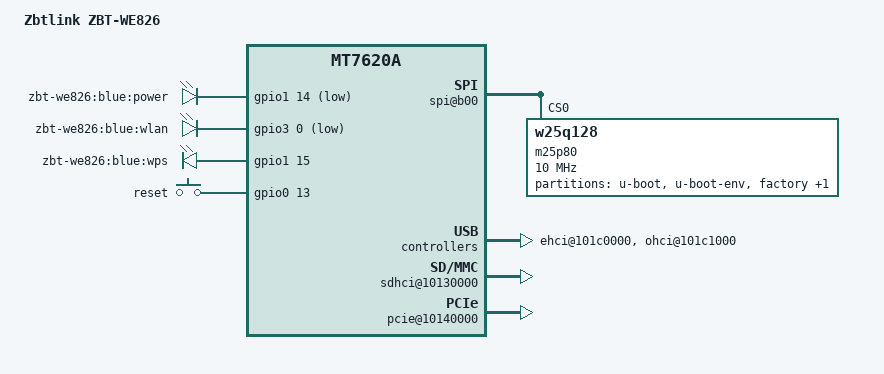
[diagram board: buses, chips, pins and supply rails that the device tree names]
/dts-v1/;

/include/ "mt7620a.dtsi"

/ {
	compatible = "zbtlink,zbt-we826", "ralink,mt7620a-soc";
	model = "Zbtlink ZBT-WE826";

	chosen {
		bootargs = "console=ttyS0,115200";
	};

	palmbus@10000000 {
		sysc@0 {
			ralink,gpiomux = "i2c", "jtag";
			ralink,uartmux = "gpio";
			ralink,wdtmux = <1>;
		};

		gpio0: gpio@600 {
			status = "okay";
		};
		
		gpio1: gpio@638 {
			status = "okay";
		};

		gpio3: gpio@688 {
			status = "okay";
		};

		spi@b00 {
			status = "okay";

			m25p80@0 {
				#address-cells = <1>;
				#size-cells = <1>;
				compatible = "w25q128";
				reg = <0 0>;
				linux,modalias = "m25p80";
				spi-max-frequency = <10000000>;

				partition@0 {
					label = "u-boot";
					reg = <0x0 0x30000>;
					read-only;
				};

				partition@30000 {
					label = "u-boot-env";
					reg = <0x30000 0x10000>;
					read-only;
				};

				factory: partition@40000 {
					label = "factory";
					reg = <0x40000 0x10000>;
					read-only;
				};

				partition@50000 {
					label = "firmware";
					reg = <0x50000 0xfb0000>;
				};
			};
		};
	};

	ehci@101c0000 {
		status = "okay";
	};

	ohci@101c1000 {
		status = "okay";
	};

	sdhci@10130000 {
		status = "okay";
	};

	pcie@10140000 {
		status = "okay";
	};

	ethernet@10100000 {
		mtd-mac-address = <&factory 0x4>;
		ralink,port-map = "llllw";
	};
	
	wmac@10180000 {
		ralink,mtd-eeprom = <&factory 0>;
	};

	pinctrl {
		state_default: pinctrl0 {
			gpio {
				ralink,group ="i2c", "uartf", "wled", "spi refclk", "pa";
				ralink,function = "gpio";
			};
			pa {
				ralink,group = "pa";
				ralink,function = "pa";
			};
		};
	};

	gpio-leds {
		compatible = "gpio-leds";
		power {
			label = "zbt-we826:blue:power";
			gpios = <&gpio1 14 1>;
		};
		wlan {
			label = "zbt-we826:blue:wlan";
			gpios = <&gpio3 0 1>;
		};
		wps {
			label = "zbt-we826:blue:wps";
			gpios = <&gpio1 15 0>;
		};
	};

	gpio-keys-polled {
		compatible = "gpio-keys";
		#address-cells = <1>;
		#size-cells = <0>;
		poll-interval = <20>;

		reset {
			label = "reset";
			gpios = <&gpio0 13 0>;
			linux,code = <0x101>;
		};
	};
};
